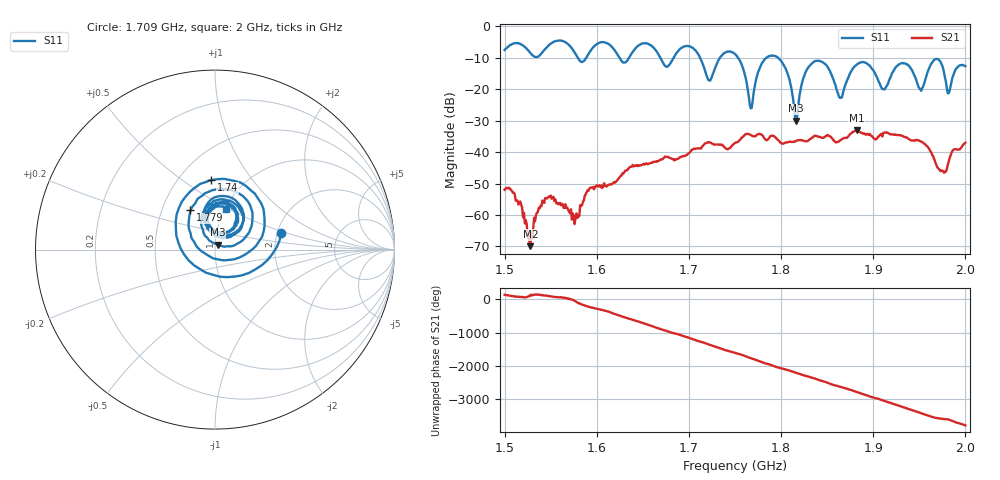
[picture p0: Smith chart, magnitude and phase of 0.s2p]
! NanoVNA-App by SYSJOINT et al v1.1.209 (+OD18)
! Date: 2026-01-21 14:22:02
! Start: 1,5GHz Stop: 2GHz Points: 501
! S-Parameter data: F S11 S21 S12 S22
# Hz S RI R 50
!  Frequency  S11_Real  S11_Imag  S21_Real  S21_Imag  S12_Real  S12_Imag  S22_Real  S22_Imag
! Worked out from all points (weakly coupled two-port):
!   501 points, 1.5 GHz to 2 GHz, reference 50 ohm
!   highest |S21| = -33.11 dB at 1.882 GHz (marker M1); lowest = -69.9 dB at 1.528 GHz (marker M2)
!   lowest |S11| = -30.0 dB at 1.816 GHz (marker M3), VSWR 1.06, Z = 51.4 + j2.86 ohm
!   |S11| at or under -10 dB: 1.712 GHz to 1.734 GHz (21.38 MHz wide, 1.24 % of centre); 1.753 GHz to 1.784 GHz (30.43 MHz wide, 1.72 % of centre); 1.797 GHz to end of sweep (the widest 3 of 6)
!   S12 and S22 are empty: the file has one direction only
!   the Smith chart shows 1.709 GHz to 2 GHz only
!   S11 on the Smith chart (normalised r, x): 1.709 GHz: 2.11, +0.46; 1.74 GHz: 0.71, +0.65; 1.779 GHz: 0.70, +0.33; 2 GHz: 1.02, +0.48
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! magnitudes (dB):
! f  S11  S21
! 1.5 GHz  -7.5  -52.0
! 1.528 GHz  -8.4  -69.9
! 1.546 GHz  -6.6  -54.8
! 1.584 GHz  -11.3  -56.9
! 1.605 GHz  -5.0  -50.6
! 1.667 GHz  -8.9  -42.8
! 1.709 GHz  -8.4  -38.8
! 1.722 GHz  -17.2  -36.8
! 1.74 GHz  -8.2  -38.9
! 1.75 GHz  -8.8  -37.1
! 1.767 GHz  -26.0  -34.6
! 1.779 GHz  -11.8  -34.5
! 1.801 GHz  -11.5  -37.3
! 1.816 GHz  -30.0  -36.5
! 1.834 GHz  -11.7  -35.3
! 1.864 GHz  -22.8  -36.3
! 1.882 GHz  -12.2  -33.1
! 1.917 GHz  -17.3  -34.1
! 1.952 GHz  -20.5  -36.7
! 1.975 GHz  -12.6  -45.8
! 1.982 GHz  -21.2  -43.0
! 2 GHz  -12.7  -37.0
